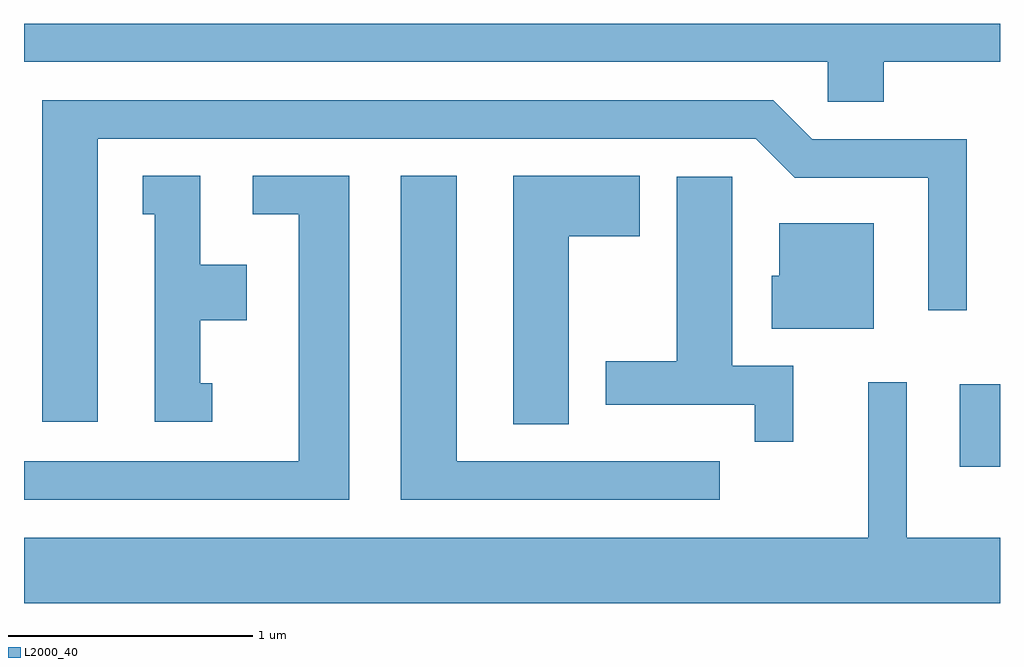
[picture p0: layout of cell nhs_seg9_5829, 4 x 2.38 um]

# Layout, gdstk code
import gdstk
lib = gdstk.Library(unit=1e-6, precision=1e-09)
def R(c, l, rs):  # rectangles x0, y0, x1, y1
    for r in rs: c.add(gdstk.rectangle(r[:2], r[2:], *l))
def P(c, l, *ps):  # polygons
    for p in ps: c.add(gdstk.Polygon(p, *l))
L2000_40 = (2000, 40)

nhs_seg9_5829 = lib.new_cell('nhs_seg9_5829')
R(nhs_seg9_5829, L2000_40, [(361.446,1974.616,361.611,1974.954)])
P(nhs_seg9_5829, L2000_40, [(361.134,1976.276),(361.611,1976.276),(361.611,1976.432),(357.611,1976.432),(357.611,1976.276),(360.906,1976.276),(360.906,1976.111),(361.134,1976.111)],
  [(357.914,1975.961),(360.609,1975.961),(360.769,1975.801),(361.316,1975.801),(361.316,1975.258),(361.474,1975.258),(361.474,1975.959),(360.842,1975.959),(360.682,1976.119),(357.686,1976.119),(357.686,1974.801),(357.914,1974.801)],
  [(358.944,1975.809),(358.548,1975.809),(358.548,1975.651),(358.736,1975.651),(358.736,1974.639),(357.611,1974.639),(357.611,1974.481),(358.944,1974.481)],
  [(358.383,1974.959),(358.334,1974.959),(358.334,1975.216),(358.524,1975.216),(358.524,1975.444),(358.334,1975.444),(358.334,1975.809),(358.098,1975.809),(358.098,1975.651),(358.146,1975.651),(358.146,1974.801),(358.383,1974.801)],
  [(360.463,1974.639),(359.384,1974.639),(359.384,1975.809),(359.156,1975.809),(359.156,1974.481),(360.463,1974.481)],
  [(359.844,1975.561),(360.134,1975.561),(360.134,1975.809),(359.616,1975.809),(359.616,1974.791),(359.844,1974.791)],
  [(360.764,1975.029),(360.514,1975.029),(360.514,1975.804),(360.286,1975.804),(360.286,1975.049),(359.996,1975.049),(359.996,1974.871),(360.606,1974.871),(360.606,1974.718),(360.764,1974.718)],
  [(361.094,1975.614),(360.706,1975.614),(360.706,1975.399),(360.676,1975.399),(360.676,1975.181),(361.094,1975.181)],
  [(361.611,1974.324),(361.229,1974.324),(361.229,1974.963),(361.071,1974.963),(361.071,1974.324),(357.611,1974.324),(357.611,1974.056),(361.611,1974.056)])

lib.write_gds('nhs_seg9_5829.gds')
